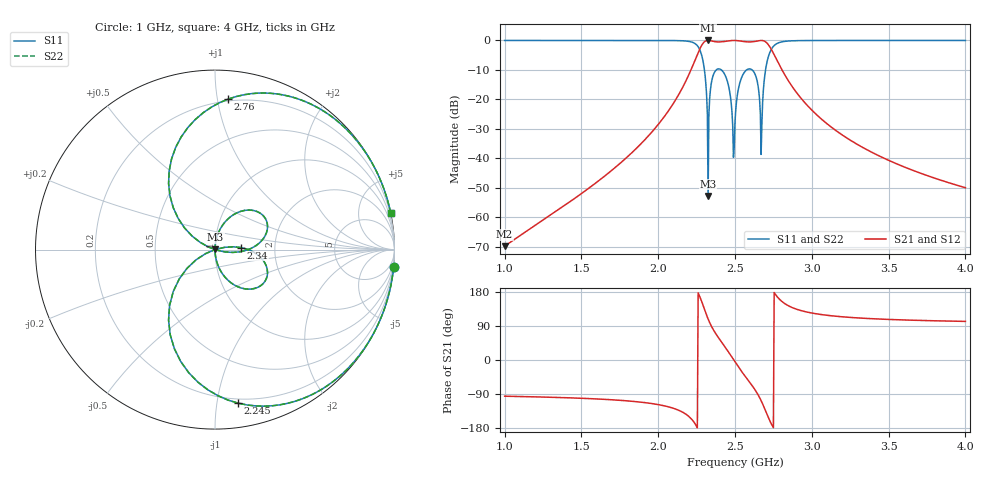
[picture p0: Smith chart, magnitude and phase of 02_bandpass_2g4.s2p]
! 02_bandpass_2g4
! 由 Base_AWR 中文版 · OpenRF Studio 生成（干净室实现）
# Hz S MA R 50
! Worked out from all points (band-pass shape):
!   601 points, 1 GHz to 4 GHz, reference 50 ohm
!   highest |S21| = 0.00 dB at 2.325 GHz (marker M1); lowest = -69.8 dB at 1 GHz (marker M2)
!   |S21| within 3 dB of the highest: 2.27 GHz to 2.736 GHz (466.8 MHz wide, 18.6 % of centre)
!   lowest |S11| = -52.7 dB at 2.325 GHz (marker M3), VSWR 1.00, Z = 50.2 + j0.072 ohm
!   |S11| at or under -10 dB: 2.301 GHz to 2.378 GHz (77.11 MHz wide, 3.3 % of centre); 2.411 GHz to 2.575 GHz (164.1 MHz wide, 6.58 % of centre); 2.612 GHz to 2.699 GHz (87.43 MHz wide, 3.29 % of centre)
!   |S22| runs from -52.7 to 0.0 dB; largest |S21 - S12| = 0
!   S11 on the Smith chart (normalised r, x): 1 GHz: 0, -21; 2.245 GHz: 0.17, -1.15; 2.34 GHz: 1.34, +0.03; 2.76 GHz: 0.19, +1.07; 4 GHz: 0.00, +9.62
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1e9  1 -5.5  0.0003253 -95.5  0.0003253 -95.5  1 -5.5
1.5e9  1 -11.0  0.002533 -101.0  0.002533 -101.0  1 -11.0
2e9  0.9993 -27.7  0.03762 -117.7  0.03762 -117.7  0.9993 -27.7
2.16e9  0.9869 -47.9  0.1616 -137.9  0.1616 -137.9  0.9869 -47.9
2.245e9  0.8651 -81.5  0.5016 -171.5  0.5016 -171.5  0.8651 -81.5
2.29e9  0.4705 -123.4  0.8824 146.6  0.8824 146.6  0.4705 -123.4
2.325e9  0.002314 18.0  1 108.0  1 108.0  0.002314 18.0
2.34e9  0.1458 4.4  0.9893 94.4  0.9893 94.4  0.1458 4.4
2.36e9  0.2649 -10.8  0.9643 79.2  0.9643 79.2  0.2649 -10.8
2.41e9  0.3182 -41.3  0.948 48.7  0.948 48.7  0.3182 -41.3
2.5e9  0.04179 85.1  0.9991 -4.9  0.9991 -4.9  0.04179 85.1
2.525e9  0.1635 70.1  0.9865 -19.9  0.9865 -19.9  0.1635 70.1
2.57e9  0.3077 44.9  0.9515 -45.1  0.9515 -45.1  0.3077 44.9
2.63e9  0.2699 11.6  0.9629 -78.4  0.9629 -78.4  0.2699 11.6
2.655e9  0.1376 -5.3  0.9905 -95.3  0.9905 -95.3  0.1376 -5.3
2.675e9  0.0383 158.5  0.9993 -111.5  0.9993 -111.5  0.0383 158.5
2.71e9  0.4499 125.1  0.8931 -144.9  0.8931 -144.9  0.4499 125.1
2.76e9  0.8419 85.0  0.5397 175.0  0.5397 175.0  0.8419 85.0
2.85e9  0.9793 52.6  0.2024 142.6  0.2024 142.6  0.9793 52.6
3e9  0.9978 33.9  0.06597 123.9  0.06597 123.9  0.9978 33.9
3.5e9  1 17.1  0.009286 107.1  0.009286 107.1  1 17.1
4e9  1 11.9  0.003188 101.9  0.003188 101.9  1 11.9
